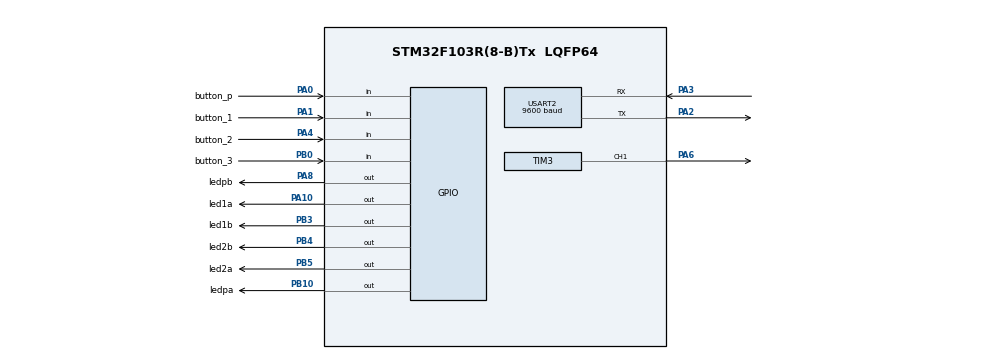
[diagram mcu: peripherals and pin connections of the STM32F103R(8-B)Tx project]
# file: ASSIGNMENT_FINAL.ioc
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Mcu.Family=STM32F1
Mcu.Name=STM32F103R(8-B)Tx
Mcu.Package=LQFP64
NVIC.PriorityGroup=NVIC_PRIORITYGROUP_4
NVIC.TIM2_IRQn=true\:0\:0\:false\:false\:true\:true\:true
PA0-WKUP.GPIO_Label=button_p
PA0-WKUP.GPIO_PuPd=GPIO_PULLUP
PA0-WKUP.Signal=GPIO_Input
PA1.GPIO_Label=button_1
PA1.GPIO_PuPd=GPIO_PULLUP
PA1.Signal=GPIO_Input
PA10.GPIO_Label=led1a
PA10.GPIO_PuPd=GPIO_PULLUP
PA10.Signal=GPIO_Output
PA13.Mode=Serial_Wire
PA13.Signal=SYS_JTMS-SWDIO
PA14.Mode=Serial_Wire
PA14.Signal=SYS_JTCK-SWCLK
PA2.Mode=Asynchronous
PA2.Signal=USART2_TX
PA3.Mode=Asynchronous
PA3.Signal=USART2_RX
PA4.GPIO_Label=button_2
PA4.Signal=GPIO_Input
PA6.Signal=S_TIM3_CH1
PA8.GPIO_Label=ledpb
PA8.Signal=GPIO_Output
PB0.GPIO_Label=button_3
PB0.GPIO_PuPd=GPIO_PULLUP
PB0.Signal=GPIO_Input
PB10.GPIO_Label=ledpa
PB10.Signal=GPIO_Output
PB3.GPIO_Label=led1b
PB3.GPIO_PuPd=GPIO_PULLUP
PB3.Signal=GPIO_Output
PB4.GPIO_Label=led2b
PB4.Signal=GPIO_Output
PB5.GPIO_Label=led2a
PB5.Signal=GPIO_Output
ProjectManager.HeapSize=0x200
ProjectManager.StackSize=0x400
ProjectManager.TargetToolchain=STM32CubeIDE
RCC.APB1Freq_Value=8000000
RCC.APB2Freq_Value=8000000
SH.S_TIM3_CH1.0=TIM3_CH1,PWM Generation1 CH1
TIM2.Period=9
TIM2.Prescaler=7999
TIM3.Channel-PWM\ Generation1\ CH1=TIM_CHANNEL_1
TIM3.Period=999
TIM3.Prescaler=63
USART2.BaudRate=9600
USART2.VirtualMode=VM_ASYNC
VP_TIM2_VS_ClockSourceINT.Mode=Internal
VP_TIM3_VS_ClockSourceINT.Mode=Internal
board=custom

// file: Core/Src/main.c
/* USER CODE BEGIN Header */
/**
  ******************************************************************************
  * @file           : main.c
  * @brief          : Main program body
  ******************************************************************************
  * @attention
  *
  * <h2><center>&copy; Copyright (c) 2022 STMicroelectronics.
  * All rights reserved.</center></h2>
  *
  * This software component is licensed by ST under BSD 3-Clause license,
  * the "License"; You may not use this file except in compliance with the
  * License. You may obtain a copy of the License at:
  *                        opensource.org/licenses/BSD-3-Clause
  *
  ******************************************************************************
  */
/* USER CODE END Header */
#include "main.h"

/* USER CODE BEGIN Includes */
#include "scheduler.h"
#include "global.h"
#include "input_reading.h"
#include "timer.h"
#include "fsm.h"
#include <stdio.h>

int status1 = Waiting;
int status2 = Waiting;
int status4 = Waiting;
int status3 = INIT;

int speaker = 0;

int RED_TIME=TIME_RED;
int timer=0;
int GREEN_TIME = TIME_GREEN;
int timer2=0;
int YELLOW_TIME = TIME_RED - TIME_GREEN;
int timer3=0;
int TIME_OUT=1000;
/* USER CODE END Includes */

TIM_HandleTypeDef htim2;
TIM_HandleTypeDef htim3;

UART_HandleTypeDef huart2;

/* USER CODE BEGIN PV */
void Print_HELLO()
{
	char str[30];
	HAL_UART_Transmit(&huart2, (void*)str, sprintf(str, "HELLO\n\r"), 1000);
}
void Print_TimeOut(int abc){
	char str[30];
	int temp;
	temp=abc;
	HAL_UART_Transmit(&huart2, (void*)str, sprintf(str, "timeout: %d\n\r", temp), 1000);
}
void Print_TimeP(int abc){
	char str[30];
	int temp;
	temp=abc;
	HAL_UART_Transmit(&huart2, (void*)str, sprintf(str, "time_P: %d\n\r", temp), 1000);
}
void Print_Mode(int abc){
	char str[30];
	int temp;
	temp=abc;
	HAL_UART_Transmit(&huart2, (void*)str, sprintf(str, "Mode: %d\n\r", temp), 1000);
}
void Print_Time(int abc){
	char str[30];
	int temp;
	temp=abc;
	HAL_UART_Transmit(&huart2, (void*)str, sprintf(str, "time: %d\n\r", temp), 1000);
}
void Print_Time1(int abc){
	char str[30];
	int temp;
	temp=abc;
	HAL_UART_Transmit(&huart2, (void*)str, sprintf(str, "time_1: %d\n\r", temp), 1000);
}
void Print_Time2(int abc){
	char str[30];
	int temp;
	temp=abc;
	HAL_UART_Transmit(&huart2, (void*)str, sprintf(str, "time_2: %d\n\r", temp), 1000);
}

void off_Speaker(){
		__HAL_TIM_SetCompare (&htim3,TIM_CHANNEL_1,0);
		speaker = 0;
}
void toogle_Speaker(){
	if(speaker == 0){
		__HAL_TIM_SetCompare (&htim3,TIM_CHANNEL_1,910);
		speaker = 1;
	}
	else if(speaker == 1){
		__HAL_TIM_SetCompare (&htim3,TIM_CHANNEL_1,0);
		speaker = 0;
	}
}
void Print_ERROR(){
	char str[30];
	if(RED_TIME!=GREEN_TIME+YELLOW_TIME){
		HAL_UART_Transmit(&huart2, (void*)str, sprintf(str, "ERROR 1 reset TIME\n\r"), 1000);
		RED_TIME = GREEN_TIME + YELLOW_TIME;
	}
}

/* USER CODE END PV */

void SystemClock_Config(void);
static void MX_GPIO_Init(void);
static void MX_TIM2_Init(void);
static void MX_USART2_UART_Init(void);
static void MX_TIM3_Init(void);

int main(void)
{
  /* USER CODE BEGIN 1 */
//	Print_HELLO();
  /* USER CODE END 1 */

  /* MCU Configuration--------------------------------------------------------*/

  /* Reset of all peripherals, Initializes the Flash interface and the Systick. */
  HAL_Init();

  /* Configure the system clock */
  SystemClock_Config();

  /* USER CODE BEGIN SysInit */
  MX_GPIO_Init ();
  /* USER CODE END SysInit */

  /* Initialize all configured peripherals */
  MX_GPIO_Init();
  MX_TIM2_Init();
  MX_USART2_UART_Init();
  MX_TIM3_Init();
  HAL_TIM_PWM_Start(&htim3, TIM_CHANNEL_1);
  /* USER CODE BEGIN 2 */
//  HAL_TIM_PWM_Start(&htim3, TIM_CHANNEL_1);
  HAL_TIM_Base_Start_IT (& htim2 ) ;
  /* USER CODE END 2 */

  /* Infinite loop */

  SCH_Init();
  setTimer0(10);
  setTimer3(10);

  SCH_Add_Task(timerRun0, 20, 10);
  SCH_Add_Task(timerRun3, 20, 10);
  SCH_Add_Task(button_reading, 10, 10);

  SCH_Add_Task(fsm_automatic_run1, 20, 10);
  SCH_Add_Task(fsm_automatic_run2, 20, 10);
  SCH_Add_Task(fsm_automatic_run3, 20, 10);
  SCH_Add_Task(fsm_p, 20, 10);

  while (1)
  {

	  SCH_Dispatch_Tasks();

    /* USER CODE END WHILE */

  }
}

void SystemClock_Config(void)
{
  RCC_OscInitTypeDef RCC_OscInitStruct = {0};
  RCC_ClkInitTypeDef RCC_ClkInitStruct = {0};

  /** Initializes the RCC Oscillators according to the specified parameters
  * in the RCC_OscInitTypeDef structure.
  */
  RCC_OscInitStruct.OscillatorType = RCC_OSCILLATORTYPE_HSI;
  RCC_OscInitStruct.HSIState = RCC_HSI_ON;
  RCC_OscInitStruct.HSICalibrationValue = RCC_HSICALIBRATION_DEFAULT;
  RCC_OscInitStruct.PLL.PLLState = RCC_PLL_NONE;
  if (HAL_RCC_OscConfig(&RCC_OscInitStruct) != HAL_OK)
  {
    Error_Handler();
  }
  /** Initializes the CPU, AHB and APB buses clocks
  */
  RCC_ClkInitStruct.ClockType = RCC_CLOCKTYPE_HCLK|RCC_CLOCKTYPE_SYSCLK
                              |RCC_CLOCKTYPE_PCLK1|RCC_CLOCKTYPE_PCLK2;
  RCC_ClkInitStruct.SYSCLKSource = RCC_SYSCLKSOURCE_HSI;
  RCC_ClkInitStruct.AHBCLKDivider = RCC_SYSCLK_DIV1;
  RCC_ClkInitStruct.APB1CLKDivider = RCC_HCLK_DIV1;
  RCC_ClkInitStruct.APB2CLKDivider = RCC_HCLK_DIV1;

  if (HAL_RCC_ClockConfig(&RCC_ClkInitStruct, FLASH_LATENCY_0) != HAL_OK)
  {
    Error_Handler();
  }
}

static void MX_TIM2_Init(void)
{

  TIM_ClockConfigTypeDef sClockSourceConfig = {0};
  TIM_MasterConfigTypeDef sMasterConfig = {0};

  htim2.Instance = TIM2;
  htim2.Init.Prescaler = 7999;
  htim2.Init.CounterMode = TIM_COUNTERMODE_UP;
  htim2.Init.Period = 9;
  htim2.Init.ClockDivision = TIM_CLOCKDIVISION_DIV1;
  htim2.Init.AutoReloadPreload = TIM_AUTORELOAD_PRELOAD_DISABLE;
  if (HAL_TIM_Base_Init(&htim2) != HAL_OK)
  {
    Error_Handler();
  }
  sClockSourceConfig.ClockSource = TIM_CLOCKSOURCE_INTERNAL;
  if (HAL_TIM_ConfigClockSource(&htim2, &sClockSourceConfig) != HAL_OK)
  {
    Error_Handler();
  }
  sMasterConfig.MasterOutputTrigger = TIM_TRGO_RESET;
  sMasterConfig.MasterSlaveMode = TIM_MASTERSLAVEMODE_DISABLE;
  if (HAL_TIMEx_MasterConfigSynchronization(&htim2, &sMasterConfig) != HAL_OK)
  {
    Error_Handler();
  }

}

static void MX_TIM3_Init(void)
{

  TIM_ClockConfigTypeDef sClockSourceConfig = {0};
  TIM_MasterConfigTypeDef sMasterConfig = {0};
  TIM_OC_InitTypeDef sConfigOC = {0};

  htim3.Instance = TIM3;
  htim3.Init.Prescaler = 63;
  htim3.Init.CounterMode = TIM_COUNTERMODE_UP;
  htim3.Init.Period = 999;
  htim3.Init.ClockDivision = TIM_CLOCKDIVISION_DIV1;
  htim3.Init.AutoReloadPreload = TIM_AUTORELOAD_PRELOAD_DISABLE;
  if (HAL_TIM_Base_Init(&htim3) != HAL_OK)
  {
    Error_Handler();
  }
  sClockSourceConfig.ClockSource = TIM_CLOCKSOURCE_INTERNAL;
  if (HAL_TIM_ConfigClockSource(&htim3, &sClockSourceConfig) != HAL_OK)
  {
    Error_Handler();
  }
  if (HAL_TIM_PWM_Init(&htim3) != HAL_OK)
  {
    Error_Handler();
  }
  sMasterConfig.MasterOutputTrigger = TIM_TRGO_RESET;
  sMasterConfig.MasterSlaveMode = TIM_MASTERSLAVEMODE_DISABLE;
  if (HAL_TIMEx_MasterConfigSynchronization(&htim3, &sMasterConfig) != HAL_OK)
  {
    Error_Handler();
  }
  sConfigOC.OCMode = TIM_OCMODE_PWM1;
  sConfigOC.Pulse = 0;
  sConfigOC.OCPolarity = TIM_OCPOLARITY_HIGH;
  sConfigOC.OCFastMode = TIM_OCFAST_DISABLE;
  if (HAL_TIM_PWM_ConfigChannel(&htim3, &sConfigOC, TIM_CHANNEL_1) != HAL_OK)
  {
    Error_Handler();
  }
  HAL_TIM_MspPostInit(&htim3);

}

static void MX_USART2_UART_Init(void)
{

  huart2.Instance = USART2;
  huart2.Init.BaudRate = 9600;
  huart2.Init.WordLength = UART_WORDLENGTH_8B;
  huart2.Init.StopBits = UART_STOPBITS_1;
  huart2.Init.Parity = UART_PARITY_NONE;
  huart2.Init.Mode = UART_MODE_TX_RX;
  huart2.Init.HwFlowCtl = UART_HWCONTROL_NONE;
  huart2.Init.OverSampling = UART_OVERSAMPLING_16;
  if (HAL_UART_Init(&huart2) != HAL_OK)
  {
    Error_Handler();
  }

}

static void MX_GPIO_Init(void)
{
  GPIO_InitTypeDef GPIO_InitStruct = {0};

  /* GPIO Ports Clock Enable */
  __HAL_RCC_GPIOA_CLK_ENABLE();
  __HAL_RCC_GPIOB_CLK_ENABLE();

  /*Configure GPIO pin Output Level */
  HAL_GPIO_WritePin(GPIOB, ledpa_Pin|led1b_Pin|led2b_Pin|led2a_Pin, GPIO_PIN_RESET);

  /*Configure GPIO pin Output Level */
  HAL_GPIO_WritePin(GPIOA, ledpb_Pin|led1a_Pin, GPIO_PIN_RESET);

  /*Configure GPIO pins : button_p_Pin button_1_Pin */
  GPIO_InitStruct.Pin = button_p_Pin|button_1_Pin;
  GPIO_InitStruct.Mode = GPIO_MODE_INPUT;
  GPIO_InitStruct.Pull = GPIO_PULLUP;
  HAL_GPIO_Init(GPIOA, &GPIO_InitStruct);

  /*Configure GPIO pin : button_2_Pin */
  GPIO_InitStruct.Pin = button_2_Pin;
  GPIO_InitStruct.Mode = GPIO_MODE_INPUT;
  GPIO_InitStruct.Pull = GPIO_NOPULL;
  HAL_GPIO_Init(button_2_GPIO_Port, &GPIO_InitStruct);

  /*Configure GPIO pin : button_3_Pin */
  GPIO_InitStruct.Pin = button_3_Pin;
  GPIO_InitStruct.Mode = GPIO_MODE_INPUT;
  GPIO_InitStruct.Pull = GPIO_PULLUP;
  HAL_GPIO_Init(button_3_GPIO_Port, &GPIO_InitStruct);

  /*Configure GPIO pins : ledpa_Pin led2b_Pin led2a_Pin */
  GPIO_InitStruct.Pin = ledpa_Pin|led2b_Pin|led2a_Pin;
  GPIO_InitStruct.Mode = GPIO_MODE_OUTPUT_PP;
  GPIO_InitStruct.Pull = GPIO_NOPULL;
  GPIO_InitStruct.Speed = GPIO_SPEED_FREQ_LOW;
  HAL_GPIO_Init(GPIOB, &GPIO_InitStruct);

  /*Configure GPIO pin : ledpb_Pin */
  GPIO_InitStruct.Pin = ledpb_Pin;
  GPIO_InitStruct.Mode = GPIO_MODE_OUTPUT_PP;
  GPIO_InitStruct.Pull = GPIO_NOPULL;
  GPIO_InitStruct.Speed = GPIO_SPEED_FREQ_LOW;
  HAL_GPIO_Init(ledpb_GPIO_Port, &GPIO_InitStruct);

  /*Configure GPIO pin : led1a_Pin */
  GPIO_InitStruct.Pin = led1a_Pin;
  GPIO_InitStruct.Mode = GPIO_MODE_OUTPUT_PP;
  GPIO_InitStruct.Pull = GPIO_PULLUP;
  GPIO_InitStruct.Speed = GPIO_SPEED_FREQ_LOW;
  HAL_GPIO_Init(led1a_GPIO_Port, &GPIO_InitStruct);

  /*Configure GPIO pin : led1b_Pin */
  GPIO_InitStruct.Pin = led1b_Pin;
  GPIO_InitStruct.Mode = GPIO_MODE_OUTPUT_PP;
  GPIO_InitStruct.Pull = GPIO_PULLUP;
  GPIO_InitStruct.Speed = GPIO_SPEED_FREQ_LOW;
  HAL_GPIO_Init(led1b_GPIO_Port, &GPIO_InitStruct);

}

/* USER CODE BEGIN 4 */
void HAL_TIM_PeriodElapsedCallback ( TIM_HandleTypeDef * htim ){
	if( htim -> Instance == TIM2 ){
		SCH_Update();
		}
}
/* USER CODE END 4 */

void Error_Handler(void)
{
  __disable_irq();
  while (1)
  {
  }
}

/************************ (C) COPYRIGHT STMicroelectronics *****END OF FILE****/
